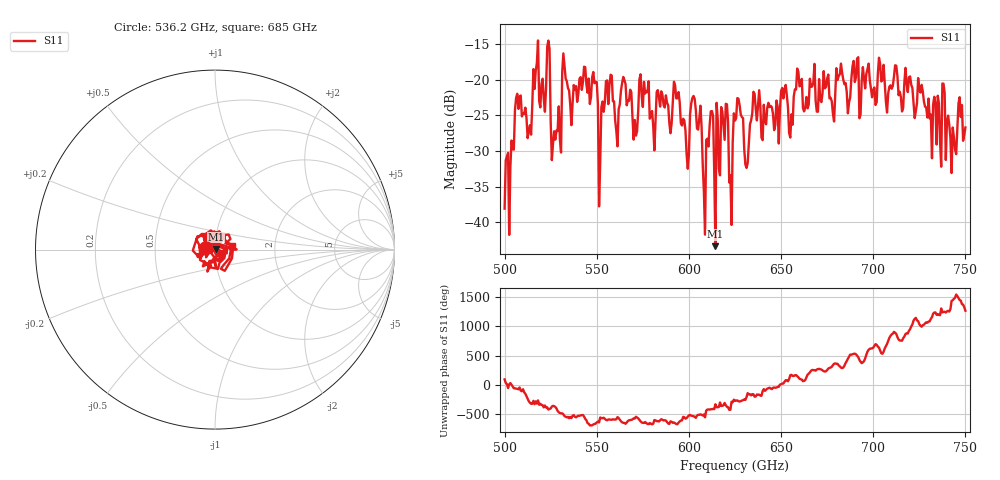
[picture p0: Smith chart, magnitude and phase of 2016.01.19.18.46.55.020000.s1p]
!Created with skrf (http://scikit-rf.org).
# GHz S RI R 50.0
!freq ReS11 ImS11
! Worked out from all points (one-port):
!   401 points, 500 GHz to 750 GHz, reference 50 ohm
!   lowest |S11| = -43.4 dB at 614.4 GHz (marker M1), VSWR 1.01, Z = 50.6 + j0.358 ohm
!   |S11| at or under -10 dB: start of sweep to end of sweep
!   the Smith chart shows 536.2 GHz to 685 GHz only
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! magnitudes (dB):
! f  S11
! 500 GHz  -38.1
! 507.5 GHz  -24.1
! 513.8 GHz  -26.4
! 516.9 GHz  -18.7
! 520.6 GHz  -19.8
! 523.8 GHz  -14.5
! 526.9 GHz  -27.2
! 531.2 GHz  -18.9
! 548.8 GHz  -20.5
! 552.5 GHz  -23.8
! 556.2 GHz  -23.4
! 562.5 GHz  -23.5
! 593.8 GHz  -22.6
! 598.8 GHz  -30.5
! 602.5 GHz  -22.3
! 608.8 GHz  -41.8
! 611.9 GHz  -24.4
! 614.4 GHz  -43.4
! 619.4 GHz  -28.4
! 623.1 GHz  -40.4
! 625 GHz  -25.7
! 631.2 GHz  -32.4
! 635 GHz  -21.7
! 656.2 GHz  -26.3
! 660 GHz  -20.9
! 687.5 GHz  -22.5
! 718.8 GHz  -21.7
! 750 GHz  -26.7
